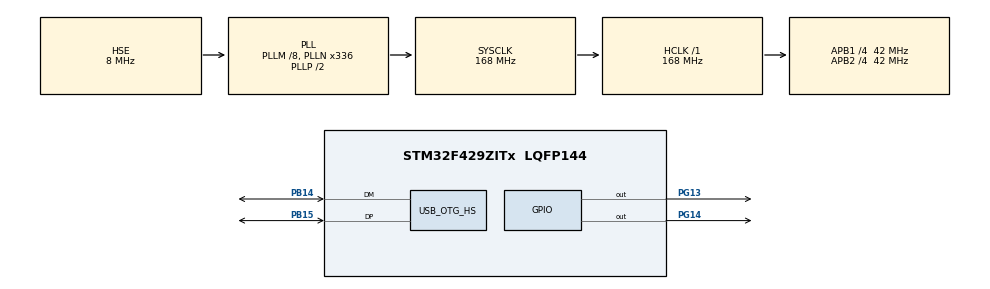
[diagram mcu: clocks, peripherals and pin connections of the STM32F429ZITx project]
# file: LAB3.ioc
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Mcu.Family=STM32F4
Mcu.Name=STM32F429ZITx
Mcu.Package=LQFP144
NVIC.OTG_HS_IRQn=true\:0\:0\:false\:false\:true\:true\:true\:true
NVIC.PriorityGroup=NVIC_PRIORITYGROUP_4
PA13.Mode=Serial_Wire
PA13.Signal=SYS_JTMS-SWDIO
PA14.Mode=Serial_Wire
PA14.Signal=SYS_JTCK-SWCLK
PB14.Mode=Device_Only_FS
PB14.Signal=USB_OTG_HS_DM
PB15.Mode=Device_Only_FS
PB15.Signal=USB_OTG_HS_DP
PG13.GPIO_Speed=GPIO_SPEED_FREQ_HIGH
PG13.Signal=GPIO_Output
PG14.GPIO_Speed=GPIO_SPEED_FREQ_HIGH
PG14.Signal=GPIO_Output
PH0/OSC_IN.Mode=HSE-External-Oscillator
PH0/OSC_IN.Signal=RCC_OSC_IN
PH1/OSC_OUT.Mode=HSE-External-Oscillator
PH1/OSC_OUT.Signal=RCC_OSC_OUT
ProjectManager.HeapSize=0x2000
ProjectManager.StackSize=0x400
ProjectManager.TargetToolchain=STM32CubeIDE
RCC.48MHZClocksFreq_Value=48000000
RCC.AHBFreq_Value=168000000
RCC.APB1CLKDivider=RCC_HCLK_DIV4
RCC.APB1Freq_Value=42000000
RCC.APB1TimFreq_Value=84000000
RCC.APB2CLKDivider=RCC_HCLK_DIV4
RCC.APB2Freq_Value=42000000
RCC.APB2TimFreq_Value=84000000
RCC.CortexFreq_Value=168000000
RCC.HCLKFreq_Value=168000000
RCC.HSE_VALUE=8000000
RCC.HSI_VALUE=16000000
RCC.LSE_VALUE=32768
RCC.PLLM=8
RCC.PLLN=336
RCC.PLLQ=7
RCC.SYSCLKFreq_VALUE=168000000
RCC.SYSCLKSource=RCC_SYSCLKSOURCE_PLLCLK
RCC.VCOOutputFreq_Value=336000000
USB_DEVICE.CLASS_NAME_HS=CDC
USB_DEVICE.VirtualMode-CDC_HS=Cdc
USB_DEVICE.VirtualModeHS=Cdc_HS
USB_OTG_HS.VirtualMode-Device_Only_FS=Device_Only_FS
VP_USB_DEVICE_VS_USB_DEVICE_CDC_HS.Mode=CDC_HS
board=custom

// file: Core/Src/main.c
/* USER CODE BEGIN Header */
/**
  ******************************************************************************
  * @file           : main.c
  * @brief          : Main program body
  ******************************************************************************
  * @attention
  *
  * Copyright (c) 2022 STMicroelectronics.
  * All rights reserved.
  *
  * This software is licensed under terms that can be found in the LICENSE file
  * in the root directory of this software component.
  * If no LICENSE file comes with this software, it is provided AS-IS.
  *
  ******************************************************************************
  */
/* USER CODE END Header */
#include "main.h"
#include "usb_device.h"

/* USER CODE BEGIN Includes */
#include "usbd_cdc_if.h"
#include "stm32f429i_discovery_lcd.h"
#include "stm32f429i_discovery_sdram.h"
#include "string.h"
#include <stdio.h>
/* USER CODE END Includes */

/* USER CODE BEGIN PV */
uint8_t* buffer;
int receive = 0;

/* USER CODE END PV */

void SystemClock_Config(void);
static void MX_GPIO_Init(void);

int main(void)
{

  /* MCU Configuration--------------------------------------------------------*/

  /* Reset of all peripherals, Initializes the Flash interface and the Systick. */
  HAL_Init();

  /* USER CODE BEGIN Init */
  BSP_LCD_Init();
  BSP_SDRAM_Init();
  /* USER CODE END Init */

  /* Configure the system clock */
  SystemClock_Config();

  /* Initialize all configured peripherals */
  MX_GPIO_Init();
  MX_USB_DEVICE_Init();
  /* USER CODE BEGIN 2 */
  	BSP_LCD_LayerDefaultInit(1, SDRAM_DEVICE_ADDR);
    BSP_LCD_SelectLayer(1);//select on which layer we write
    BSP_LCD_DisplayOn();//turn on LCD
    BSP_LCD_Clear(LCD_COLOR_BLUE);//clear the LCD on blue s
    BSP_LCD_SetBackColor(LCD_COLOR_BLUE);//set text background color
    BSP_LCD_SetTextColor(LCD_COLOR_WHITE);//set text color
    BSP_LCD_SetFont(&Font16);
    BSP_LCD_GetFont();
    BSP_LCD_DisplayStringAtLine(1, (uint8_t*) "Good evening, ");
    BSP_LCD_DisplayStringAtLine(2, (uint8_t*) "it's too dark here!");

  /* USER CODE END 2 */

  /* Infinite loop */
  while (1)
  {

    /* USER CODE BEGIN 3 */
	  if (receive == 1){
		  if (strncmp((const char*) buffer, "Hello STM", 9) == 0) {
			  BSP_LCD_Clear(LCD_COLOR_BLUE);
			  BSP_LCD_DisplayStringAtLine(1, (uint8_t*) "Do you want");
			  BSP_LCD_DisplayStringAtLine(2, (uint8_t*) "turn on light");

		  }
		  if (strncmp((const char*) buffer, "Turn on LED 3", 13) == 0) {
			  HAL_GPIO_WritePin(GPIOG, GPIO_PIN_13, 1);

		  }
		  if (strncmp((const char*) buffer, "Turn off LED 3", 14) == 0) {
			  HAL_GPIO_WritePin(GPIOG, GPIO_PIN_13, 0);

		  }
		  if (strncmp((const char*) buffer, "Turn on LED 4", 13) == 0) {
			  HAL_GPIO_WritePin(GPIOG, GPIO_PIN_14, 1);

		  }
		  if (strncmp((const char*) buffer, "Turn off LED 4", 14) == 0) {
			  HAL_GPIO_WritePin(GPIOG, GPIO_PIN_14, 0);

		  }
		  if (strncmp((const char*) buffer, "Good night", 10) == 0) {
			  HAL_GPIO_WritePin(GPIOG, GPIO_PIN_13, 0);
			  HAL_GPIO_WritePin(GPIOG, GPIO_PIN_14, 0);

		  }
	  }
	  receive = 0;
  }
  /* USER CODE END 3 */
}

void SystemClock_Config(void)
{
  RCC_OscInitTypeDef RCC_OscInitStruct = {0};
  RCC_ClkInitTypeDef RCC_ClkInitStruct = {0};

  /** Configure the main internal regulator output voltage
  */
  __HAL_RCC_PWR_CLK_ENABLE();
  __HAL_PWR_VOLTAGESCALING_CONFIG(PWR_REGULATOR_VOLTAGE_SCALE1);

  /** Initializes the RCC Oscillators according to the specified parameters
  * in the RCC_OscInitTypeDef structure.
  */
  RCC_OscInitStruct.OscillatorType = RCC_OSCILLATORTYPE_HSE;
  RCC_OscInitStruct.HSEState = RCC_HSE_ON;
  RCC_OscInitStruct.PLL.PLLState = RCC_PLL_ON;
  RCC_OscInitStruct.PLL.PLLSource = RCC_PLLSOURCE_HSE;
  RCC_OscInitStruct.PLL.PLLM = 8;
  RCC_OscInitStruct.PLL.PLLN = 336;
  RCC_OscInitStruct.PLL.PLLP = RCC_PLLP_DIV2;
  RCC_OscInitStruct.PLL.PLLQ = 7;
  if (HAL_RCC_OscConfig(&RCC_OscInitStruct) != HAL_OK)
  {
    Error_Handler();
  }

  /** Initializes the CPU, AHB and APB buses clocks
  */
  RCC_ClkInitStruct.ClockType = RCC_CLOCKTYPE_HCLK|RCC_CLOCKTYPE_SYSCLK
                              |RCC_CLOCKTYPE_PCLK1|RCC_CLOCKTYPE_PCLK2;
  RCC_ClkInitStruct.SYSCLKSource = RCC_SYSCLKSOURCE_PLLCLK;
  RCC_ClkInitStruct.AHBCLKDivider = RCC_SYSCLK_DIV1;
  RCC_ClkInitStruct.APB1CLKDivider = RCC_HCLK_DIV4;
  RCC_ClkInitStruct.APB2CLKDivider = RCC_HCLK_DIV4;

  if (HAL_RCC_ClockConfig(&RCC_ClkInitStruct, FLASH_LATENCY_5) != HAL_OK)
  {
    Error_Handler();
  }
}

static void MX_GPIO_Init(void)
{
  GPIO_InitTypeDef GPIO_InitStruct = {0};

  /* GPIO Ports Clock Enable */
  __HAL_RCC_GPIOH_CLK_ENABLE();
  __HAL_RCC_GPIOB_CLK_ENABLE();
  __HAL_RCC_GPIOA_CLK_ENABLE();
  __HAL_RCC_GPIOG_CLK_ENABLE();

  /*Configure GPIO pin Output Level */
  HAL_GPIO_WritePin(GPIOG, GPIO_PIN_13|GPIO_PIN_14, GPIO_PIN_RESET);

  /*Configure GPIO pins : PG13 PG14 */
  GPIO_InitStruct.Pin = GPIO_PIN_13|GPIO_PIN_14;
  GPIO_InitStruct.Mode = GPIO_MODE_OUTPUT_PP;
  GPIO_InitStruct.Pull = GPIO_NOPULL;
  GPIO_InitStruct.Speed = GPIO_SPEED_FREQ_HIGH;
  HAL_GPIO_Init(GPIOG, &GPIO_InitStruct);

}

void Error_Handler(void)
{
  __disable_irq();
  while (1)
  {
  }
}
